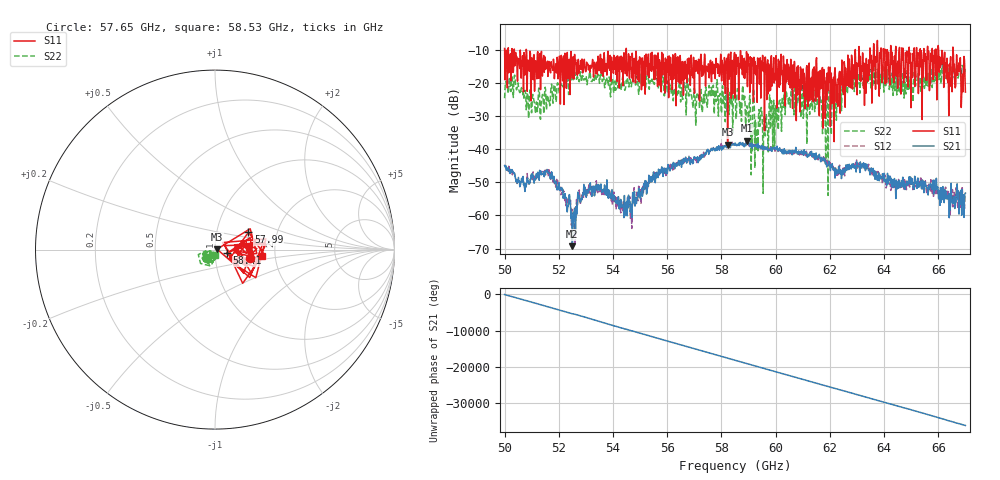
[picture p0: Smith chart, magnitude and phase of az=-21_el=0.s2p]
!Created with skrf (http://scikit-rf.org).
# GHz S RI R 50.0
!freq ReS11 ImS11 ReS21 ImS21 ReS12 ImS12 ReS22 ImS22
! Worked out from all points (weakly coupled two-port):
!   1001 points, 50 GHz to 67 GHz, reference 50 ohm
!   highest |S21| = -37.46 dB at 58.92 GHz (marker M1); lowest = -69.2 dB at 52.5 GHz (marker M2)
!   lowest |S11| = -38.6 dB at 58.23 GHz (marker M3), VSWR 1.02, Z = 51.2 + j0.235 ohm
!   |S11| at or under -10 dB: 50.8 GHz to 54.49 GHz (3.686 GHz wide, 7 % of centre); 54.49 GHz to 62.94 GHz (8.447 GHz wide, 14.4 % of centre); 66.01 GHz to 66.54 GHz (529.3 MHz wide, 0.799 % of centre) (the widest 3 of 29)
!   |S22| runs from -53.9 to -14.0 dB; largest |S21 - S12| = 0.0022
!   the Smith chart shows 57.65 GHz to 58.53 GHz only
!   S11 on the Smith chart (normalised r, x): 57.65 GHz: 1.48, -0.14; 57.99 GHz: 1.42, +0.29; 58.41 GHz: 1.14, -0.04; 58.53 GHz: 1.71, -0.13
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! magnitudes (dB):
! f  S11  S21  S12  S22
! 50 GHz  -9.7  -45.0  -44.7  -24.7
! 50.73 GHz  -11.6  -51.1  -51.4  -23.7
! 51.58 GHz  -13.5  -46.2  -45.9  -23.7
! 52.5 GHz  -18.6  -69.2  -63.8  -19.5
! 52.84 GHz  -13.7  -54.8  -55.7  -19.6
! 54.44 GHz  -13.4  -60.1  -59.3  -22.3
! 55.68 GHz  -13.5  -46.0  -47.7  -21.8
! 57.65 GHz  -14.0  -40.0  -40.3  -23.8
! 57.99 GHz  -13.6  -39.4  -38.3  -29.0
! 58.23 GHz  -38.6  -39.0  -38.6  -23.3
! 58.41 GHz  -23.4  -38.6  -38.4  -35.2
! 58.5 GHz  -24.6  -38.2  -38.6  -24.2
! 58.53 GHz  -11.5  -38.8  -38.6  -30.7
! 58.92 GHz  -10.6  -37.5  -37.8  -27.6
! 59.62 GHz  -12.3  -40.0  -39.6  -36.0
! 60.64 GHz  -14.6  -40.6  -40.9  -22.5
! 61.34 GHz  -25.1  -42.1  -41.5  -26.0
! 61.88 GHz  -25.1  -45.3  -43.4  -23.1
! 62.6 GHz  -19.1  -44.7  -45.3  -19.3
! 64.18 GHz  -17.7  -48.0  -48.5  -18.6
! 66.06 GHz  -15.5  -56.9  -54.5  -14.6
! 67 GHz  -22.8  -53.2  -53.2  -15.5
